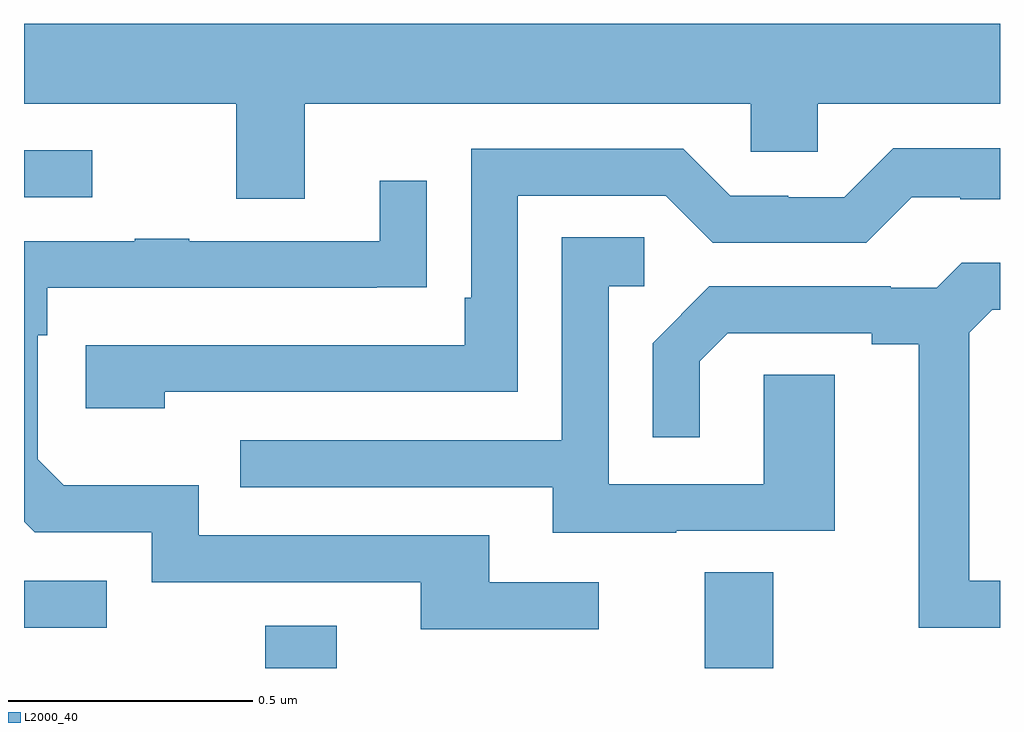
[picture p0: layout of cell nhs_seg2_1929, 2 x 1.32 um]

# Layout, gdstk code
import gdstk
lib = gdstk.Library(unit=1e-6, precision=1e-09)
def R(c, l, rs):  # rectangles x0, y0, x1, y1
    for r in rs: c.add(gdstk.rectangle(r[:2], r[2:], *l))
def P(c, l, *ps):  # polygons
    for p in ps: c.add(gdstk.Polygon(p, *l))
L2000_40 = (2000, 40)

nhs_seg2_1929 = lib.new_cell('nhs_seg2_1929')
R(nhs_seg2_1929, L2000_40, [(134.494,659.8,134.641,659.887), (135.395,659.8,135.535,659.996), (134,659.883,134.17,659.979), (134,660.765,134.14,660.861)])
P(nhs_seg2_1929, L2000_40, [(134.575,660.956),(135.489,660.956),(135.489,660.858),(135.627,660.858),(135.627,660.956),(136,660.956),(136,661.12),(134,661.12),(134,660.956),(134.435,660.956),(134.435,660.762),(134.575,660.762)],
  [(134.288,660.366),(135.012,660.366),(135.012,660.768),(135.315,660.768),(135.411,660.672),(135.726,660.672),(135.819,660.765),(135.919,660.765),(135.919,660.761),(136,660.761),(136,660.865),(135.781,660.865),(135.681,660.765),(135.566,660.765),(135.566,660.768),(135.447,660.768),(135.351,660.864),(134.916,660.864),(134.916,660.559),(134.903,660.559),(134.903,660.462),(134.127,660.462),(134.127,660.332),(134.288,660.332)],
  [(135.178,659.976),(134.953,659.976),(134.953,660.072),(134.358,660.072),(134.358,660.175),(134.081,660.175),(134.028,660.228),(134.028,660.482),(134.048,660.482),(134.048,660.579),(134.723,660.579),(134.723,660.58),(134.825,660.58),(134.825,660.799),(134.729,660.799),(134.729,660.675),(134.339,660.675),(134.339,660.68),(134.227,660.68),(134.227,660.675),(134,660.675),(134,660.1),(134.022,660.078),(134.262,660.078),(134.262,659.976),(134.813,659.976),(134.813,659.88),(135.178,659.88)],
  [(135.337,660.081),(135.661,660.081),(135.661,660.401),(135.516,660.401),(135.516,660.177),(135.198,660.177),(135.198,660.582),(135.271,660.582),(135.271,660.683),(135.102,660.683),(135.102,660.267),(134.443,660.267),(134.443,660.171),(135.083,660.171),(135.083,660.077),(135.337,660.077)],
  [(136,659.979),(135.937,659.979),(135.937,660.487),(135.984,660.534),(136,660.534),(136,660.631),(135.922,660.631),(135.87,660.579),(135.776,660.579),(135.776,660.582),(135.404,660.582),(135.288,660.466),(135.288,660.273),(135.385,660.273),(135.385,660.429),(135.442,660.486),(135.737,660.486),(135.737,660.464),(135.833,660.464),(135.833,659.883),(136,659.883)])

lib.write_gds('nhs_seg2_1929.gds')
